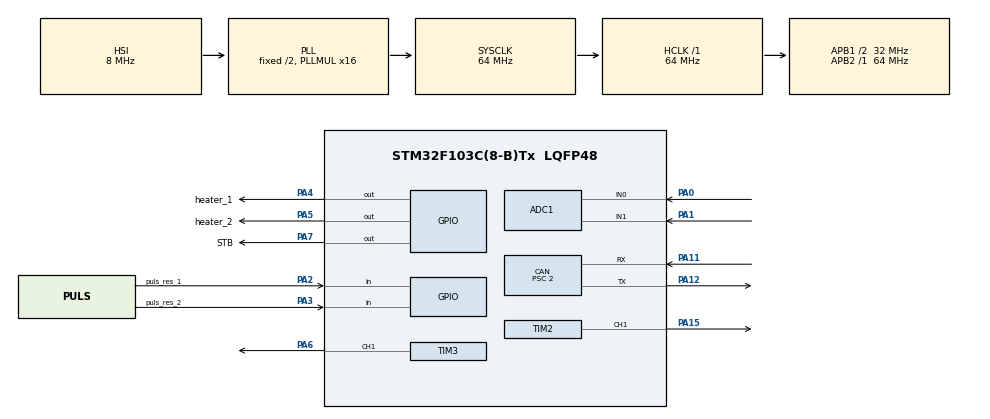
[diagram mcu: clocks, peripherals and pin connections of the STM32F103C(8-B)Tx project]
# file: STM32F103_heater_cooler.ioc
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ADC1.Channel-0\#ChannelRegularConversion=ADC_CHANNEL_0
ADC1.Channel-1\#ChannelRegularConversion=ADC_CHANNEL_1
ADC1.NbrOfConversion=2
ADC1.NbrOfConversionFlag=1
ADC1.Rank-0\#ChannelRegularConversion=1
ADC1.Rank-1\#ChannelRegularConversion=2
ADC1.SamplingTime-0\#ChannelRegularConversion=ADC_SAMPLETIME_239CYCLES_5
ADC1.SamplingTime-1\#ChannelRegularConversion=ADC_SAMPLETIME_239CYCLES_5
ADC1.master=1
CAN.BS1=CAN_BS1_11TQ
CAN.BS2=CAN_BS2_4TQ
CAN.CalculateBaudRate=1000000
CAN.CalculateTimeBit=1000
CAN.CalculateTimeQuantum=62.5
CAN.NART=ENABLE
CAN.Prescaler=2
CAN.TXFP=ENABLE
Dma.ADC1.0.Direction=DMA_PERIPH_TO_MEMORY
Dma.ADC1.0.Instance=DMA1_Channel1
Dma.ADC1.0.MemDataAlignment=DMA_MDATAALIGN_HALFWORD
Dma.ADC1.0.MemInc=DMA_MINC_ENABLE
Dma.ADC1.0.Mode=DMA_NORMAL
Dma.ADC1.0.PeriphDataAlignment=DMA_PDATAALIGN_HALFWORD
Dma.ADC1.0.PeriphInc=DMA_PINC_DISABLE
Dma.ADC1.0.Priority=DMA_PRIORITY_HIGH
Dma.Request0=ADC1
FREERTOS.Tasks01=task_watchdog,48,128,start_task_watchdog,Default,NULL,Dynamic,NULL,NULL;task_can_handle,40,256,start_task_can_handler,Default,NULL,Dynamic,NULL,NULL;task_dispatcher,24,256,start_task_dispatcher,Default,NULL,Dynamic,NULL,NULL;task_heater_coo,24,384,start_task_heater_cooler_ctrl,Default,NULL,Dynamic,NULL,NULL
FREERTOS.configTOTAL_HEAP_SIZE=10240
IWDG.Prescaler=IWDG_PRESCALER_256
IWDG.Reload=624
Mcu.Family=STM32F1
Mcu.Name=STM32F103C(8-B)Tx
Mcu.Package=LQFP48
NVIC.ADC1_2_IRQn=true\:5\:0\:false\:false\:true\:true\:true\:true\:true
NVIC.CAN1_RX1_IRQn=true\:5\:0\:false\:false\:true\:true\:true\:true\:true
NVIC.CAN1_SCE_IRQn=true\:5\:0\:false\:false\:true\:true\:true\:true\:true
NVIC.DMA1_Channel1_IRQn=true\:5\:0\:false\:false\:true\:true\:false\:true\:true
NVIC.PriorityGroup=NVIC_PRIORITYGROUP_4
NVIC.TIM4_IRQn=true\:15\:0\:false\:false\:true\:false\:true\:true\:true
NVIC.TimeBase=TIM4_IRQn
NVIC.TimeBaseIP=TIM4
NVIC.USB_LP_CAN1_RX0_IRQn=true\:5\:0\:false\:false\:true\:true\:true\:true\:true
PA0-WKUP.Signal=ADCx_IN0
PA1.Signal=ADCx_IN1
PA11.Mode=CAN_Activate
PA11.Signal=CAN_RX
PA12.Mode=CAN_Activate
PA12.Signal=CAN_TX
PA13.Mode=Serial_Wire
PA13.Signal=SYS_JTMS-SWDIO
PA14.Mode=Serial_Wire
PA14.Signal=SYS_JTCK-SWCLK
PA15.Signal=S_TIM2_CH1_ETR
PA2.GPIO_Label=puls_res_1
PA2.GPIO_PuPd=GPIO_PULLUP
PA2.Signal=GPIO_Input
PA3.GPIO_Label=puls_res_2
PA3.GPIO_PuPd=GPIO_PULLUP
PA3.Signal=GPIO_Input
PA4.GPIO_Label=heater_1
PA4.Signal=GPIO_Output
PA5.GPIO_Label=heater_2
PA5.Signal=GPIO_Output
PA6.Signal=S_TIM3_CH1
PA7.GPIO_Label=STB
PA7.Signal=GPIO_Output
ProjectManager.HeapSize=0x200
ProjectManager.StackSize=0x400
ProjectManager.TargetToolchain=STM32CubeIDE
RCC.ADCPresc=RCC_ADCPCLK2_DIV8
RCC.AHBFreq_Value=64000000
RCC.APB1CLKDivider=RCC_HCLK_DIV2
RCC.APB1Freq_Value=32000000
RCC.APB1TimFreq_Value=64000000
RCC.APB2Freq_Value=64000000
RCC.APB2TimFreq_Value=64000000
RCC.HCLKFreq_Value=64000000
RCC.PLLMUL=RCC_PLL_MUL16
RCC.SYSCLKFreq_VALUE=64000000
RCC.SYSCLKSource=RCC_SYSCLKSOURCE_PLLCLK
RCC.USBFreq_Value=64000000
SH.ADCx_IN0.0=ADC1_IN0,IN0
SH.ADCx_IN1.0=ADC1_IN1,IN1
SH.S_TIM2_CH1_ETR.0=TIM2_CH1,PWM Generation1 CH1
SH.S_TIM3_CH1.0=TIM3_CH1,PWM Generation1 CH1
TIM2.AutoReloadPreload=TIM_AUTORELOAD_PRELOAD_ENABLE
TIM2.Channel-PWM\ Generation1\ CH1=TIM_CHANNEL_1
TIM2.Period=15999
TIM3.Channel-PWM\ Generation1\ CH1=TIM_CHANNEL_1
TIM3.Period=15999
VP_FREERTOS_VS_CMSIS_V2.Mode=CMSIS_V2
VP_IWDG_VS_IWDG.Mode=IWDG_Activate
VP_SYS_VS_tim4.Mode=TIM4
VP_TIM2_VS_ClockSourceINT.Mode=Internal
VP_TIM3_VS_ClockSourceINT.Mode=Internal
board=custom

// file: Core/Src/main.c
/* USER CODE BEGIN Header */
/**
 ******************************************************************************
 * @file           : main.c
 * @brief          : Main program body
 ******************************************************************************
 * @attention
 *
 * Copyright (c) 2026 STMicroelectronics.
 * All rights reserved.
 *
 * This software is licensed under terms that can be found in the LICENSE file
 * in the root directory of this software component.
 * If no LICENSE file comes with this software, it is provided AS-IS.
 *
 ******************************************************************************
 */
/* USER CODE END Header */
#include "main.h"
#include "cmsis_os.h"

/* USER CODE BEGIN Includes */

#include "tasks/task_can_handler.h"
#include "tasks/task_dispatcher.h"
#include "tasks/task_heater_cooler_ctrl.h"
#include "tasks/task_watchdog.h"
#include "app_config.h"
#include "app_flash.h"
#include "app_queues.h"
// --- Безопасное отключение выходов ---
/* Используется при отказе создания критических RTOS-ресурсов. */
#include "app_safety.h"

/* USER CODE END Includes */

ADC_HandleTypeDef hadc1;
DMA_HandleTypeDef hdma_adc1;

CAN_HandleTypeDef hcan;

IWDG_HandleTypeDef hiwdg;

TIM_HandleTypeDef htim2;
TIM_HandleTypeDef htim3;

/* Definitions for task_watchdog */
osThreadId_t task_watchdogHandle;
const osThreadAttr_t task_watchdog_attributes = { .name = "task_watchdog",
		.stack_size = 128 * 4, .priority = (osPriority_t) osPriorityRealtime, };
/* Definitions for task_can_handle */
osThreadId_t task_can_handleHandle;
const osThreadAttr_t task_can_handle_attributes = { .name = "task_can_handle",
		.stack_size = 256 * 4, .priority = (osPriority_t) osPriorityHigh, };
/* Definitions for task_dispatcher */
osThreadId_t task_dispatcherHandle;
const osThreadAttr_t task_dispatcher_attributes = { .name = "task_dispatcher",
		.stack_size = 256 * 4, .priority = (osPriority_t) osPriorityNormal, };
/* Definitions for task_heater_coo */
osThreadId_t task_heater_cooHandle;
const osThreadAttr_t task_heater_coo_attributes = { .name = "task_heater_coo",
		.stack_size = 384 * 4, .priority = (osPriority_t) osPriorityNormal, };
/* USER CODE BEGIN PV */

osMessageQueueId_t can_rx_queueHandle;
osMessageQueueId_t can_tx_queueHandle;
osMessageQueueId_t dispatcher_queueHandle;
osMessageQueueId_t heater_cooler_queueHandle;

/* USER CODE END PV */

void SystemClock_Config(void);
static void MX_GPIO_Init(void);
static void MX_DMA_Init(void);
static void MX_ADC1_Init(void);
static void MX_CAN_Init(void);
static void MX_TIM2_Init(void);
static void MX_TIM3_Init(void);
static void MX_IWDG_Init(void);
void start_task_watchdog(void *argument);
void start_task_can_handler(void *argument);
void start_task_dispatcher(void *argument);
void start_task_heater_cooler_ctrl(void *argument);

int main(void) {

	/* MCU Configuration--------------------------------------------------------*/

	/* Reset of all peripherals, Initializes the Flash interface and the Systick. */
	HAL_Init();

	/* Configure the system clock */
	SystemClock_Config();

	/* Initialize all configured peripherals */
	MX_GPIO_Init();
	MX_DMA_Init();
	MX_ADC1_Init();
	MX_CAN_Init();
	MX_TIM2_Init();
	MX_TIM3_Init();
	MX_IWDG_Init();

	/* Init scheduler */
	osKernelInitialize();

	/* USER CODE BEGIN RTOS_MUTEX */
	/* add mutexes, ... */
	AppConfig_Init();

	/* USER CODE END RTOS_MUTEX */

	/* USER CODE BEGIN RTOS_QUEUES */
	/* add queues, ... */
	can_rx_queueHandle = osMessageQueueNew(CAN_RX_QUEUE_LEN,
			sizeof(CanRxFrame_t), NULL);

	can_tx_queueHandle = osMessageQueueNew(CAN_TX_QUEUE_LEN,
			sizeof(CanTxFrame_t), NULL);

	dispatcher_queueHandle = osMessageQueueNew(DISPATCHER_QUEUE_LEN,
			sizeof(ParsedCanCommand_t), NULL);

	heater_cooler_queueHandle = osMessageQueueNew(HEATER_COOLER_QUEUE_LEN,
			sizeof(HeaterCoolerCommand_t), NULL);

	// --- Проверка создания критических очередей ---Проверка счётчиков supervisor-ом добавляется следующим блоком.

	/*
	 * Все четыре очереди обязательны для передачи команд и ответов.
	 * При отказе отключаем тепловые выходы и прекращаем запуск:
	 * Executor не должен работать с неполным набором RTOS-ресурсов.
	 * GPIO и PWM-таймеры к этому месту уже инициализированы.
	 */
	if ((can_rx_queueHandle == NULL) || (can_tx_queueHandle == NULL)
			|| (dispatcher_queueHandle == NULL)
			|| (heater_cooler_queueHandle == NULL)) {
		AppSafety_AllOff();
		Error_Handler();
	}

	/* USER CODE END RTOS_QUEUES */

	/* Create the thread(s) */
	/* creation of task_watchdog */
	task_watchdogHandle = osThreadNew(start_task_watchdog, NULL,
			&task_watchdog_attributes);

	/* creation of task_can_handle */
	task_can_handleHandle = osThreadNew(start_task_can_handler, NULL,
			&task_can_handle_attributes);

	/* creation of task_dispatcher */
	task_dispatcherHandle = osThreadNew(start_task_dispatcher, NULL,
			&task_dispatcher_attributes);

	/* creation of task_heater_coo */
	task_heater_cooHandle = osThreadNew(start_task_heater_cooler_ctrl, NULL,
			&task_heater_coo_attributes);

	/* USER CODE BEGIN RTOS_THREADS */
	/* add threads, ... */
	// --- Проверка создания критических задач ---
	/*
	 * Все четыре задачи обязательны для работы Executor.
	 * Проверка выполняется до запуска планировщика: при отказе
	 * отключаем тепловые выходы и прекращаем запуск приложения.
	 * CAN STB процедура AppSafety_AllOff() не изменяет.
	 */
	if ((task_watchdogHandle == NULL) || (task_can_handleHandle == NULL)
			|| (task_dispatcherHandle == NULL)
			|| (task_heater_cooHandle == NULL)) {
		AppSafety_AllOff();
		Error_Handler();
	}

	/* USER CODE END RTOS_THREADS */

	/* Start scheduler */
	osKernelStart();

	/* We should never get here as control is now taken by the scheduler */

	/* Infinite loop */
	while (1) {

	}
}

void SystemClock_Config(void) {
	RCC_OscInitTypeDef RCC_OscInitStruct = { 0 };
	RCC_ClkInitTypeDef RCC_ClkInitStruct = { 0 };
	RCC_PeriphCLKInitTypeDef PeriphClkInit = { 0 };

	/** Initializes the RCC Oscillators according to the specified parameters
	 * in the RCC_OscInitTypeDef structure.
	 */
	RCC_OscInitStruct.OscillatorType = RCC_OSCILLATORTYPE_HSI
			| RCC_OSCILLATORTYPE_LSI;
	RCC_OscInitStruct.HSIState = RCC_HSI_ON;
	RCC_OscInitStruct.HSICalibrationValue = RCC_HSICALIBRATION_DEFAULT;
	RCC_OscInitStruct.LSIState = RCC_LSI_ON;
	RCC_OscInitStruct.PLL.PLLState = RCC_PLL_ON;
	RCC_OscInitStruct.PLL.PLLSource = RCC_PLLSOURCE_HSI_DIV2;
	RCC_OscInitStruct.PLL.PLLMUL = RCC_PLL_MUL16;
	if (HAL_RCC_OscConfig(&RCC_OscInitStruct) != HAL_OK) {
		Error_Handler();
	}

	/** Initializes the CPU, AHB and APB buses clocks
	 */
	RCC_ClkInitStruct.ClockType = RCC_CLOCKTYPE_HCLK | RCC_CLOCKTYPE_SYSCLK
			| RCC_CLOCKTYPE_PCLK1 | RCC_CLOCKTYPE_PCLK2;
	RCC_ClkInitStruct.SYSCLKSource = RCC_SYSCLKSOURCE_PLLCLK;
	RCC_ClkInitStruct.AHBCLKDivider = RCC_SYSCLK_DIV1;
	RCC_ClkInitStruct.APB1CLKDivider = RCC_HCLK_DIV2;
	RCC_ClkInitStruct.APB2CLKDivider = RCC_HCLK_DIV1;

	if (HAL_RCC_ClockConfig(&RCC_ClkInitStruct, FLASH_LATENCY_2) != HAL_OK) {
		Error_Handler();
	}
	PeriphClkInit.PeriphClockSelection = RCC_PERIPHCLK_ADC;
	PeriphClkInit.AdcClockSelection = RCC_ADCPCLK2_DIV8;
	if (HAL_RCCEx_PeriphCLKConfig(&PeriphClkInit) != HAL_OK) {
		Error_Handler();
	}
}

static void MX_ADC1_Init(void) {

	ADC_ChannelConfTypeDef sConfig = { 0 };

	/** Common config
	 */
	hadc1.Instance = ADC1;
	hadc1.Init.ScanConvMode = ADC_SCAN_ENABLE;
	hadc1.Init.ContinuousConvMode = DISABLE;
	hadc1.Init.DiscontinuousConvMode = DISABLE;
	hadc1.Init.ExternalTrigConv = ADC_SOFTWARE_START;
	hadc1.Init.DataAlign = ADC_DATAALIGN_RIGHT;
	hadc1.Init.NbrOfConversion = 2;
	if (HAL_ADC_Init(&hadc1) != HAL_OK) {
		Error_Handler();
	}

	/** Configure Regular Channel
	 */
	sConfig.Channel = ADC_CHANNEL_0;
	sConfig.Rank = ADC_REGULAR_RANK_1;
	sConfig.SamplingTime = ADC_SAMPLETIME_239CYCLES_5;
	if (HAL_ADC_ConfigChannel(&hadc1, &sConfig) != HAL_OK) {
		Error_Handler();
	}

	/** Configure Regular Channel
	 */
	sConfig.Channel = ADC_CHANNEL_1;
	sConfig.Rank = ADC_REGULAR_RANK_2;
	if (HAL_ADC_ConfigChannel(&hadc1, &sConfig) != HAL_OK) {
		Error_Handler();
	}

}

static void MX_CAN_Init(void) {

	hcan.Instance = CAN1;
	hcan.Init.Prescaler = 2;
	hcan.Init.Mode = CAN_MODE_NORMAL;
	hcan.Init.SyncJumpWidth = CAN_SJW_1TQ;
	hcan.Init.TimeSeg1 = CAN_BS1_11TQ;
	hcan.Init.TimeSeg2 = CAN_BS2_4TQ;
	hcan.Init.TimeTriggeredMode = DISABLE;
	hcan.Init.AutoBusOff = DISABLE;
	hcan.Init.AutoWakeUp = DISABLE;
	hcan.Init.AutoRetransmission = ENABLE;
	hcan.Init.ReceiveFifoLocked = DISABLE;
	hcan.Init.TransmitFifoPriority = ENABLE;
	if (HAL_CAN_Init(&hcan) != HAL_OK) {
		Error_Handler();
	}

}

static void MX_IWDG_Init(void) {

	hiwdg.Instance = IWDG;
	hiwdg.Init.Prescaler = IWDG_PRESCALER_256;
	hiwdg.Init.Reload = 624;
	if (HAL_IWDG_Init(&hiwdg) != HAL_OK) {
		Error_Handler();
	}

}

static void MX_TIM2_Init(void) {

	TIM_ClockConfigTypeDef sClockSourceConfig = { 0 };
	TIM_MasterConfigTypeDef sMasterConfig = { 0 };
	TIM_OC_InitTypeDef sConfigOC = { 0 };

	htim2.Instance = TIM2;
	htim2.Init.Prescaler = 0;
	htim2.Init.CounterMode = TIM_COUNTERMODE_UP;
	htim2.Init.Period = 15999;
	htim2.Init.ClockDivision = TIM_CLOCKDIVISION_DIV1;
	htim2.Init.AutoReloadPreload = TIM_AUTORELOAD_PRELOAD_ENABLE;
	if (HAL_TIM_Base_Init(&htim2) != HAL_OK) {
		Error_Handler();
	}
	sClockSourceConfig.ClockSource = TIM_CLOCKSOURCE_INTERNAL;
	if (HAL_TIM_ConfigClockSource(&htim2, &sClockSourceConfig) != HAL_OK) {
		Error_Handler();
	}
	if (HAL_TIM_PWM_Init(&htim2) != HAL_OK) {
		Error_Handler();
	}
	sMasterConfig.MasterOutputTrigger = TIM_TRGO_RESET;
	sMasterConfig.MasterSlaveMode = TIM_MASTERSLAVEMODE_DISABLE;
	if (HAL_TIMEx_MasterConfigSynchronization(&htim2, &sMasterConfig)
			!= HAL_OK) {
		Error_Handler();
	}
	sConfigOC.OCMode = TIM_OCMODE_PWM1;
	sConfigOC.Pulse = 0;
	sConfigOC.OCPolarity = TIM_OCPOLARITY_HIGH;
	sConfigOC.OCFastMode = TIM_OCFAST_DISABLE;
	if (HAL_TIM_PWM_ConfigChannel(&htim2, &sConfigOC, TIM_CHANNEL_1)
			!= HAL_OK) {
		Error_Handler();
	}
	HAL_TIM_MspPostInit(&htim2);

}

static void MX_TIM3_Init(void) {

	TIM_ClockConfigTypeDef sClockSourceConfig = { 0 };
	TIM_MasterConfigTypeDef sMasterConfig = { 0 };
	TIM_OC_InitTypeDef sConfigOC = { 0 };

	htim3.Instance = TIM3;
	htim3.Init.Prescaler = 0;
	htim3.Init.CounterMode = TIM_COUNTERMODE_UP;
	htim3.Init.Period = 15999;
	htim3.Init.ClockDivision = TIM_CLOCKDIVISION_DIV1;
	htim3.Init.AutoReloadPreload = TIM_AUTORELOAD_PRELOAD_DISABLE;
	if (HAL_TIM_Base_Init(&htim3) != HAL_OK) {
		Error_Handler();
	}
	sClockSourceConfig.ClockSource = TIM_CLOCKSOURCE_INTERNAL;
	if (HAL_TIM_ConfigClockSource(&htim3, &sClockSourceConfig) != HAL_OK) {
		Error_Handler();
	}
	if (HAL_TIM_PWM_Init(&htim3) != HAL_OK) {
		Error_Handler();
	}
	sMasterConfig.MasterOutputTrigger = TIM_TRGO_RESET;
	sMasterConfig.MasterSlaveMode = TIM_MASTERSLAVEMODE_DISABLE;
	if (HAL_TIMEx_MasterConfigSynchronization(&htim3, &sMasterConfig)
			!= HAL_OK) {
		Error_Handler();
	}
	sConfigOC.OCMode = TIM_OCMODE_PWM1;
	sConfigOC.Pulse = 0;
	sConfigOC.OCPolarity = TIM_OCPOLARITY_HIGH;
	sConfigOC.OCFastMode = TIM_OCFAST_DISABLE;
	if (HAL_TIM_PWM_ConfigChannel(&htim3, &sConfigOC, TIM_CHANNEL_1)
			!= HAL_OK) {
		Error_Handler();
	}
	HAL_TIM_MspPostInit(&htim3);

}

static void MX_DMA_Init(void) {

	/* DMA controller clock enable */
	__HAL_RCC_DMA1_CLK_ENABLE();

	/* DMA interrupt init */
	/* DMA1_Channel1_IRQn interrupt configuration */
	HAL_NVIC_SetPriority(DMA1_Channel1_IRQn, 5, 0);
	HAL_NVIC_EnableIRQ(DMA1_Channel1_IRQn);

}

static void MX_GPIO_Init(void) {
	GPIO_InitTypeDef GPIO_InitStruct = { 0 };

	/* GPIO Ports Clock Enable */
	__HAL_RCC_GPIOA_CLK_ENABLE();

	/*Configure GPIO pin Output Level */
	HAL_GPIO_WritePin(GPIOA, heater_1_Pin | heater_2_Pin | STB_Pin,
			GPIO_PIN_RESET);

	/*Configure GPIO pins : puls_res_1_Pin puls_res_2_Pin */
	GPIO_InitStruct.Pin = puls_res_1_Pin | puls_res_2_Pin;
	GPIO_InitStruct.Mode = GPIO_MODE_INPUT;
	GPIO_InitStruct.Pull = GPIO_PULLUP;
	HAL_GPIO_Init(GPIOA, &GPIO_InitStruct);

	/*Configure GPIO pins : heater_1_Pin heater_2_Pin STB_Pin */
	GPIO_InitStruct.Pin = heater_1_Pin | heater_2_Pin | STB_Pin;
	GPIO_InitStruct.Mode = GPIO_MODE_OUTPUT_PP;
	GPIO_InitStruct.Pull = GPIO_NOPULL;
	GPIO_InitStruct.Speed = GPIO_SPEED_FREQ_LOW;
	HAL_GPIO_Init(GPIOA, &GPIO_InitStruct);

}

void start_task_watchdog(void *argument) {
	/* USER CODE BEGIN 5 */
	app_start_task_watchdog(argument);
	/* Infinite loop */
	for (;;) {
		osDelay(1);
	}
	/* USER CODE END 5 */
}

void start_task_can_handler(void *argument) {
	/* USER CODE BEGIN start_task_can_handler */
	app_start_task_can_handler(argument);

	/* Infinite loop */
	for (;;) {
		osDelay(1);
	}
	/* USER CODE END start_task_can_handler */
}

void start_task_dispatcher(void *argument) {
	/* USER CODE BEGIN start_task_dispatcher */
	app_start_task_dispatcher(argument);

	/* Infinite loop */
	for (;;) {
		osDelay(1);
	}
	/* USER CODE END start_task_dispatcher */
}

void start_task_heater_cooler_ctrl(void *argument) {
	/* USER CODE BEGIN start_task_heater_cooler_ctrl */
	app_start_task_heater_cooler_ctrl(argument);

	/* Infinite loop */
	for (;;) {
		osDelay(1);
	}
	/* USER CODE END start_task_heater_cooler_ctrl */
}

void HAL_TIM_PeriodElapsedCallback(TIM_HandleTypeDef *htim) {
	if (htim->Instance == TIM4) {
		HAL_IncTick();
	}
}

void Error_Handler(void) {
	/* USER CODE BEGIN Error_Handler_Debug */
	/* User can add his own implementation to report the HAL error return state */
	// --- Аварийное отключение платы ---
	/*
	 * Запрещаем обычные прерывания и переключение задач,
	 * затем отключаем выходы. В приложение не возвращаемся.
	 * RTOS и CAN в этом пути не используются.
	 */
	__disable_irq();
	AppSafety_AllOff();
	__DSB();
	__ISB();

	// --- Аварийный останов ---
	/*
	 * IWDG здесь не обслуживается.
	 * Если он уже запущен, по истечении таймаута произойдёт reset.
	 * При ошибке до запуска IWDG остаёмся до внешнего reset.
	 */

	while (1) {
	}
	/* USER CODE END Error_Handler_Debug */
}
